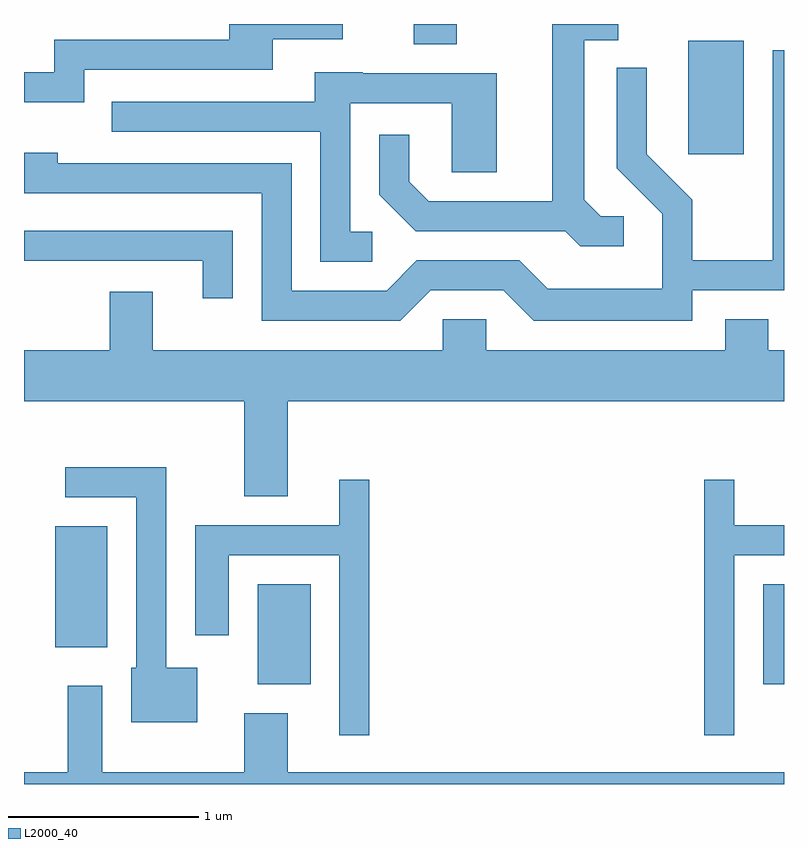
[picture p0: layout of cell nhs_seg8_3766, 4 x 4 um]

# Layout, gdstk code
import gdstk
lib = gdstk.Library(unit=1e-6, precision=1e-09)
def R(c, l, rs):  # rectangles x0, y0, x1, y1
    for r in rs: c.add(gdstk.rectangle(r[:2], r[2:], *l))
def P(c, l, *ps):  # polygons
    for p in ps: c.add(gdstk.Polygon(p, *l))
L2000_40 = (2000, 40)

nhs_seg8_3766 = lib.new_cell('nhs_seg8_3766')
R(nhs_seg8_3766, L2000_40, [(298.841,1894.866,299.119,1895.394), (301.501,1894.866,301.611,1895.394), (297.776,1895.061,298.049,1895.699), (301.106,1897.656,301.399,1898.254), (299.661,1898.236,299.889,1898.342)])
P(nhs_seg8_3766, L2000_40, [(300.768,1897.329),(300.647,1897.329),(300.559,1897.417),(300.559,1898.256),(300.738,1898.256),(300.738,1898.342),(300.391,1898.342),(300.391,1897.409),(299.742,1897.409),(299.639,1897.512),(299.639,1897.758),(299.481,1897.758),(299.481,1897.444),(299.674,1897.251),(300.459,1897.251),(300.539,1897.171),(300.768,1897.171)],
  [(297.929,1898.101),(298.919,1898.101),(298.919,1898.261),(299.288,1898.261),(299.288,1898.342),(298.691,1898.342),(298.691,1898.259),(297.771,1898.259),(297.771,1898.089),(297.611,1898.089),(297.611,1897.931),(297.929,1897.931)],
  [(299.752,1896.941),(300.134,1896.941),(300.294,1896.781),(301.129,1896.781),(301.129,1896.941),(301.611,1896.941),(301.611,1898.204),(301.551,1898.204),(301.551,1897.099),(301.129,1897.099),(301.129,1897.417),(300.889,1897.657),(300.889,1898.113),(300.731,1898.113),(300.731,1897.584),(300.971,1897.344),(300.971,1896.949),(300.367,1896.949),(300.217,1897.099),(299.679,1897.099),(299.519,1896.939),(299.019,1896.939),(299.019,1897.609),(297.789,1897.609),(297.789,1897.664),(297.611,1897.664),(297.611,1897.451),(298.861,1897.451),(298.861,1896.781),(299.592,1896.781)],
  [(299.443,1897.249),(299.329,1897.249),(299.329,1897.926),(299.861,1897.926),(299.861,1897.561),(300.099,1897.561),(300.099,1898.084),(299.395,1898.084),(299.395,1898.089),(299.141,1898.089),(299.141,1897.934),(298.073,1897.934),(298.073,1897.776),(299.171,1897.776),(299.171,1897.091),(299.443,1897.091)],
  [(298.709,1897.254),(297.611,1897.254),(297.611,1897.096),(298.551,1897.096),(298.551,1896.898),(298.709,1896.898)],
  [(298.999,1896.356),(301.611,1896.356),(301.611,1896.624),(301.529,1896.624),(301.529,1896.789),(301.301,1896.789),(301.301,1896.624),(300.044,1896.624),(300.044,1896.789),(299.816,1896.789),(299.816,1896.624),(298.289,1896.624),(298.289,1896.934),(298.061,1896.934),(298.061,1896.624),(297.611,1896.624),(297.611,1896.356),(298.771,1896.356),(298.771,1895.856),(298.999,1895.856)],
  [(298.524,1894.954),(298.359,1894.954),(298.359,1896.009),(297.828,1896.009),(297.828,1895.851),(298.201,1895.851),(298.201,1894.954),(298.176,1894.954),(298.176,1894.666),(298.524,1894.666)],
  [(301.349,1895.546),(301.611,1895.546),(301.611,1895.704),(301.349,1895.704),(301.349,1895.943),(301.191,1895.943),(301.191,1894.598),(301.349,1894.598)],
  [(299.429,1895.943),(299.271,1895.943),(299.271,1895.704),(298.511,1895.704),(298.511,1895.126),(298.689,1895.126),(298.689,1895.546),(299.271,1895.546),(299.271,1894.598),(299.429,1894.598)],
  [(301.611,1894.404),(298.999,1894.404),(298.999,1894.714),(298.771,1894.714),(298.771,1894.404),(298.024,1894.404),(298.024,1894.859),(297.841,1894.859),(297.841,1894.404),(297.611,1894.404),(297.611,1894.342),(301.611,1894.342)])

lib.write_gds('nhs_seg8_3766.gds')
